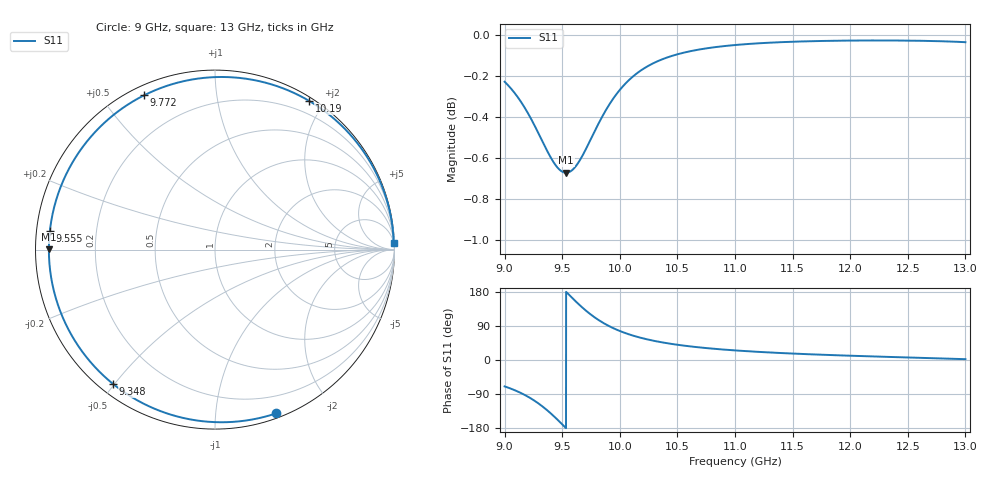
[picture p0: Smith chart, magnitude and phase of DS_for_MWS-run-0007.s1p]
! TOUCHSTONE file generated by CST DESIGN STUDIO
! Date and time: Tue Feb  4 12:45:48 2025
! Project name: C:\Work\MatlabApps\UnitCellOptimizationMatlab\CST\unitcell.cst
! Tree item: Tasks\Sweep1\SPara1\S-Parameters
! Header version: 2024
! Port assignment regex: !\s*Touchstone port\s*([0-9]+)\s*=\s*(CST MWS port|CST DES external port|CST DES block port)\s*(.+)\s* \(\"(.*)\"\)(\s*mode\s*([0-9]+))?.*
! Touchstone port assignment:
! Touchstone port 1 = CST DES external port 1 ("")
# GHz S MA R 50
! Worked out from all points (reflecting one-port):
!   4001 points, 9 GHz to 13 GHz, reference 50 ohm
!   lowest |S11| = -0.7 dB at 9.534 GHz (marker M1), VSWR 25.88, Z = 1.93 + j0.0659 ohm
!   phase of S11 starts at -70 deg and turns -288 deg over the sweep
!   S11 on the Smith chart (normalised r, x): 9 GHz: 0.04, -1.44; 9.348 GHz: 0.04, -0.50; 9.555 GHz: 0.04, +0.06; 9.772 GHz: 0.04, +0.64; 10.19 GHz: 0.04, +1.82; 13 GHz: 6, +51
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9  0.974 -69.6
9.098  0.9669 -81.0
9.205  0.9567 -97.3
9.28  0.948 -111.7
9.348  0.9396 -127.2
9.42  0.9315 -146.2
9.462  0.9281 -158.3
9.5  0.9262 -169.7
9.534  0.9256 179.8
9.555  0.9258 173.4
9.609  0.9283 157.1
9.669  0.9337 140.0
9.72  0.9397 126.8
9.772  0.9461 114.6
9.82  0.952 104.7
9.872  0.9578 95.1
9.936  0.9642 85.1
10  0.9695 76.6
10.092  0.9756 66.5
10.194  0.9806 57.7
10.334  0.9854 48.4
10.5  0.989 40.2
10.721  0.992 32.3
11  0.9942 25.3
11.5  0.996 17.0
12  0.9967 11.3
12.5  0.9966 6.7
13  0.9958 2.2
